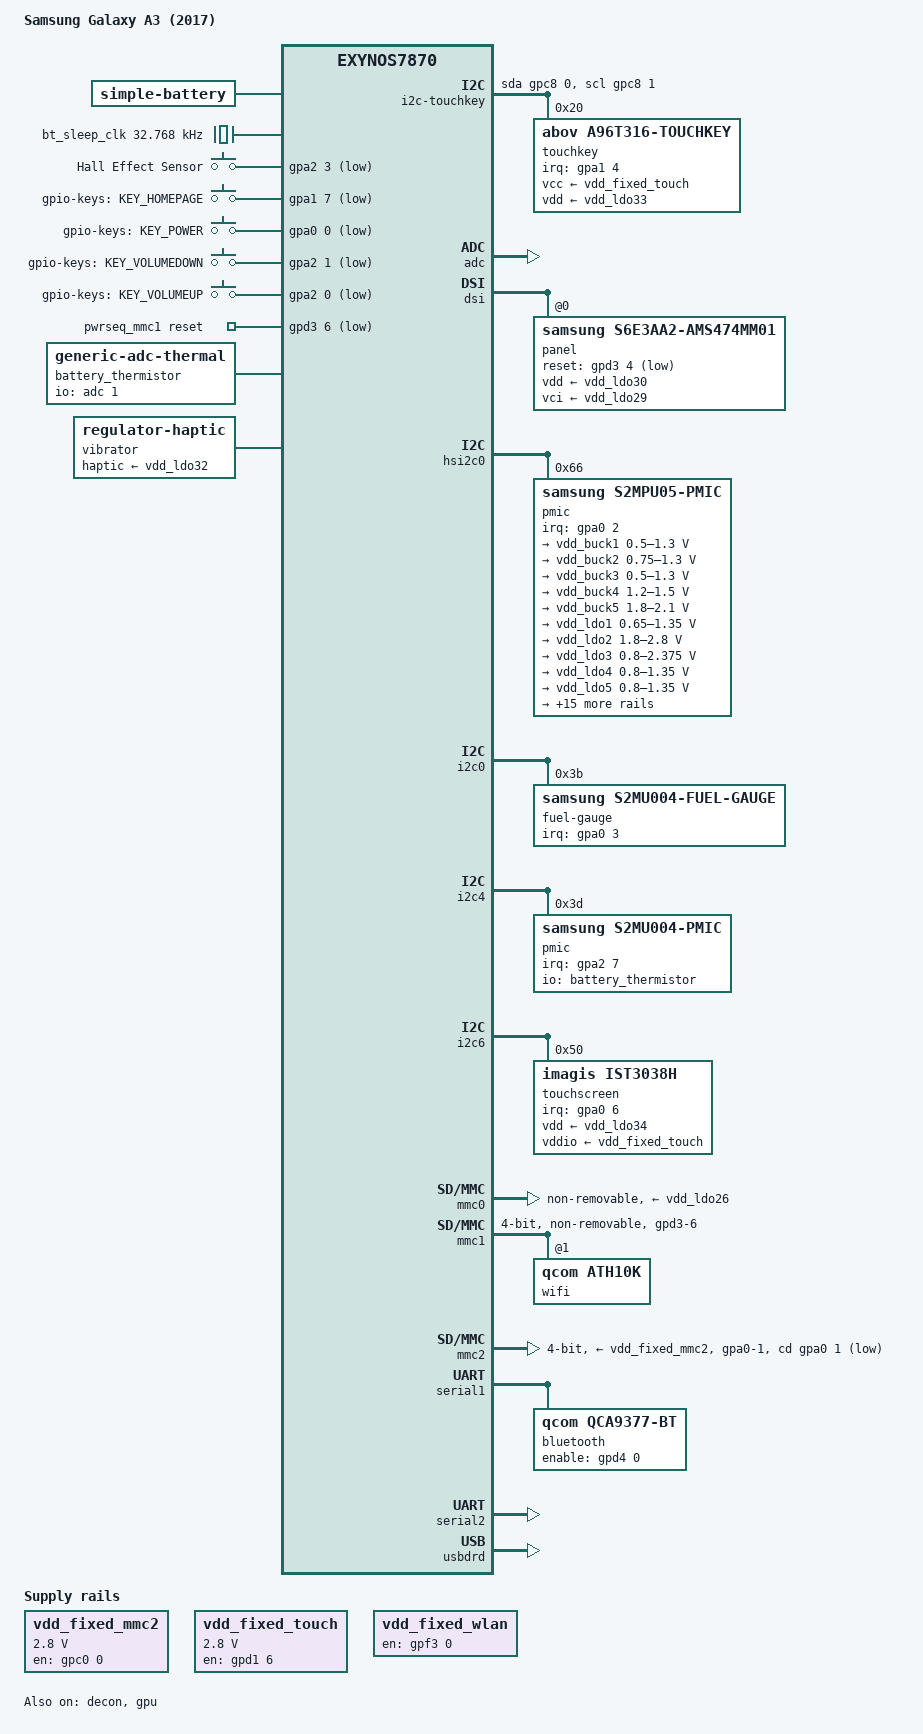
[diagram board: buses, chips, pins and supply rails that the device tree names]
// SPDX-License-Identifier: GPL-2.0
/*
 * Samsung Galaxy A3 (2017) (a3y17lte) device tree source
 *
 * Based on exynos7870-j5y17lte.dts. Board data cross-checked against the
 * vendor a3y17lte rev02/rev03 device trees.
 */

/dts-v1/;
#include "exynos7870.dtsi"
#include <dt-bindings/gpio/gpio.h>
#include <dt-bindings/input/input.h>
#include <dt-bindings/interrupt-controller/irq.h>

/ {
	model = "Samsung Galaxy A3 (2017)";
	compatible = "samsung,a3y17lte", "samsung,exynos7870";
	chassis-type = "handset";

	aliases {
		mmc0 = &mmc0;
		mmc1 = &mmc1;
		mmc2 = &mmc2;
		serial0 = &serial0;
		serial1 = &serial1;
		serial2 = &serial2;
	};

	battery: battery {
		compatible = "simple-battery";
		device-chemistry = "lithium-ion";
		charge-full-design-microamp-hours = <2350000>;
		voltage-max-design-microvolt = <4350000>;
		constant-charge-voltage-max-microvolt = <4350000>;
		constant-charge-current-max-microamp = <2100000>;
		charge-term-current-microamp = <245000>;
		operating-range-celsius = <0 50>;
	};

	chosen {
		ranges;
		#address-cells = <2>;
		#size-cells = <1>;

		stdout-path = &serial2;

		/* Left running by S-Boot (s3cfb.bootloaderfb=0x67000000) */
		framebuffer@67000000 {
			compatible = "simple-framebuffer";
			reg = <0x0 0x67000000 (720 * 1280 * 4)>;
			width = <720>;
			height = <1280>;
			stride = <(720 * 4)>;
			format = "a8r8g8b8";
		};
	};

	/* 32.768 kHz sleep clock for the QCA9377, from the S2MPU05 (always running) */
	bt_sleep_clk: clock-32k {
		compatible = "fixed-clock";
		#clock-cells = <0>;
		clock-frequency = <32768>;
		clock-output-names = "bt_sleep_clk";
	};

	gpio-hall-effect-sensor {
		compatible = "gpio-keys";
		label = "GPIO Hall Effect Sensor";

		pinctrl-0 = <&hall_irq>;
		pinctrl-names = "default";

		event-hall-effect-sensor {
			label = "Hall Effect Sensor";
			gpios = <&gpa2 3 GPIO_ACTIVE_LOW>;
			wakeup-source;
			linux,input-type = <EV_SW>;
			linux,code = <SW_LID>;
			linux,can-disable;
		};
	};

	gpio-keys {
		compatible = "gpio-keys";
		pinctrl-0 = <&key_power &key_voldown &key_volup>;
		pinctrl-names = "default";

		key-home {
			interrupt-parent = <&gpa1>;
			label = "gpio-keys: KEY_HOMEPAGE";
			gpios = <&gpa1 7 GPIO_ACTIVE_LOW>;
			linux,code = <KEY_HOMEPAGE>;
			wakeup-source;
		};

		key-power {
			interrupt-parent = <&gpa0>;
			label = "gpio-keys: KEY_POWER";
			gpios = <&gpa0 0 GPIO_ACTIVE_LOW>;
			linux,code = <KEY_POWER>;
			wakeup-source;
		};

		key-voldown {
			interrupt-parent = <&gpa2>;
			label = "gpio-keys: KEY_VOLUMEDOWN";
			gpios = <&gpa2 1 GPIO_ACTIVE_LOW>;
			linux,code = <KEY_VOLUMEDOWN>;
		};

		key-volup {
			interrupt-parent = <&gpa2>;
			label = "gpio-keys: KEY_VOLUMEUP";
			gpios = <&gpa2 0 GPIO_ACTIVE_LOW>;
			linux,code = <KEY_VOLUMEUP>;
		};
	};

	/* Touch keys: the vendor kernel bit-bangs this bus, hardware i2c2 gets no ACK */
	i2c-touchkey {
		compatible = "i2c-gpio";
		sda-gpios = <&gpc8 0 (GPIO_ACTIVE_HIGH | GPIO_OPEN_DRAIN)>;
		scl-gpios = <&gpc8 1 (GPIO_ACTIVE_HIGH | GPIO_OPEN_DRAIN)>;
		i2c-gpio,delay-us = <2>;
		#address-cells = <1>;
		#size-cells = <0>;

		touchkey@20 {
			compatible = "abov,a96t316-touchkey";
			reg = <0x20>;

			interrupt-parent = <&gpa1>;
			interrupts = <4 IRQ_TYPE_EDGE_FALLING>;

			pinctrl-0 = <&touchkey_irq>;
			pinctrl-names = "default";

			vcc-supply = <&vdd_fixed_touch>;
			vdd-supply = <&vdd_ldo33>;

			linux,keycodes = <KEY_APPSELECT KEY_BACK>;
		};
	};

	memory@40000000 {
		device_type = "memory";
		reg = <0x0 0x40000000 0x3e400000>,
		      <0x0 0x80000000 0x40000000>;
	};

	pwrseq_mmc1: pwrseq-mmc1 {
		compatible = "mmc-pwrseq-simple";
		reset-gpios = <&gpd3 6 GPIO_ACTIVE_LOW>;
	};

	vdd_fixed_mmc2: regulator-fixed-mmc2 {
		compatible = "regulator-fixed";
		regulator-name = "vdd_fixed_mmc2";
		regulator-max-microvolt = <2800000>;
		regulator-min-microvolt = <2800000>;

		gpio = <&gpc0 0 GPIO_ACTIVE_HIGH>;
		enable-active-high;
	};

	/* Touchscreen I/O 2.8 V, enabled by the bootloader */
	vdd_fixed_touch: regulator-fixed-touch {
		compatible = "regulator-fixed";
		regulator-name = "vdd_fixed_touch";
		regulator-max-microvolt = <2800000>;
		regulator-min-microvolt = <2800000>;

		gpio = <&gpd1 6 GPIO_ACTIVE_HIGH>;
		enable-active-high;
		regulator-boot-on;
	};

	/*
	 * QCA9377 Wi-Fi/BT power switch. Shared by both functions and the
	 * Bluetooth driver has no supply for it, so it is kept on.
	 */
	vdd_fixed_wlan: regulator-fixed-wlan {
		compatible = "regulator-fixed";
		regulator-name = "vdd_fixed_wlan";

		gpio = <&gpf3 0 GPIO_ACTIVE_HIGH>;
		enable-active-high;
		startup-delay-us = <4000>;
		regulator-always-on;
	};

	reserved-memory {
		ranges;
		#address-cells = <2>;
		#size-cells = <1>;

		ramoops@46e00000 {
			compatible = "ramoops";
			reg = <0x0 0x46e00000 0x8000>;
			console-size = <0x4000>;
			pmsg-size = <0x4000>;
		};

		cont_splash_mem: framebuffer@67000000 {
			reg = <0x0 0x67000000 (720 * 1280 * 4)>;
			iommu-addresses = <&decon 0x67000000 (720 * 1280 * 4)>;
			no-map;
		};
	};

	battery_thermistor: thermal-sensor-battery {
		compatible = "generic-adc-thermal";
		#io-channel-cells = <0>;
		#thermal-sensor-cells = <0>;
		io-channels = <&adc 1>;
		io-channel-names = "sensor-channel";
		/*
		 * Vendor table converted from ADC codes to millivolts with the
		 * ADC scale (1.8 V / 4095); the voltage falls as temperature rises.
		 */
		temperature-lookup-table = <(-20000) 1589
					    (-15000) 1547
					    (-10000) 1486
					    (-5000) 1441
					    0 1368
					    5000 1287
					    10000 1193
					    15000 1099
					    20000 993
					    25000 892
					    27000 878
					    29000 838
					    32000 781
					    35000 723
					    40000 606
					    45000 527
					    50000 455
					    55000 388
					    60000 323
					    65000 284
					    70000 241
					    75000 212
					    80000 177
					    85000 153
					    90000 127>;
	};

	thermal-zones {
		battery-thermal {
			polling-delay-passive = <0>;
			polling-delay = <5000>;
			thermal-sensors = <&battery_thermistor>;
		};
	};

	vibrator {
		compatible = "regulator-haptic";
		haptic-supply = <&vdd_ldo32>;
		min-microvolt = <3325000>;
		max-microvolt = <3325000>;
	};
};

&adc {
	vdd-supply = <&vdd_ldo3>;
	status = "okay";
};

&cpu0 {
	cpu-supply = <&vdd_buck1>;
};

&cpu1 {
	cpu-supply = <&vdd_buck1>;
};

&cpu2 {
	cpu-supply = <&vdd_buck1>;
};

&cpu3 {
	cpu-supply = <&vdd_buck1>;
};

&cpu4 {
	cpu-supply = <&vdd_buck1>;
};

&cpu5 {
	cpu-supply = <&vdd_buck1>;
};

&cpu6 {
	cpu-supply = <&vdd_buck1>;
};

&cpu7 {
	cpu-supply = <&vdd_buck1>;
};

&decon {
	memory-region = <&cont_splash_mem>;

	/* Tearing effect input from the command mode panel */
	pinctrl-0 = <&decon_te_on>;
	pinctrl-names = "default";

	status = "okay";
};

&dsi {
	#address-cells = <1>;
	#size-cells = <0>;

	samsung,burst-clock-frequency = <490000000>;
	samsung,esc-clock-frequency = <16000000>;
	samsung,pll-clock-frequency = <26000000>;

	status = "okay";

	panel@0 {
		compatible = "samsung,s6e3aa2-ams474mm01";
		reg = <0>;

		vdd-supply = <&vdd_ldo30>;
		vci-supply = <&vdd_ldo29>;

		reset-gpios = <&gpd3 4 GPIO_ACTIVE_LOW>;
	};
};

&gpu {
	mali-supply = <&vdd_buck2>;

	status = "okay";
};

&hsi2c0 {
	status = "okay";

	pmic@66 {
		compatible = "samsung,s2mpu05-pmic";
		reg = <0x66>;

		interrupt-parent = <&gpa0>;
		interrupts = <2 IRQ_TYPE_LEVEL_LOW>;

		pinctrl-0 = <&pmic_irq>;
		pinctrl-names = "default";

		regulators {
			vdd_buck1: buck1 {
				regulator-name = "vdd_buck1";
				regulator-min-microvolt = <500000>;
				regulator-max-microvolt = <1300000>;
				regulator-ramp-delay = <12000>;
				regulator-boot-on;
				regulator-always-on;
			};

			vdd_buck2: buck2 {
				regulator-name = "vdd_buck2";
				/*
				 * Also supplies MIF, INT, DISP and CAM, which
				 * have no consumer: keep the bootloader's level.
				 */
				regulator-min-microvolt = <750000>;
				regulator-max-microvolt = <1300000>;
				regulator-ramp-delay = <12000>;
				regulator-boot-on;
				regulator-always-on;
			};

			vdd_buck3: buck3 {
				regulator-name = "vdd_buck3";
				regulator-min-microvolt = <500000>;
				regulator-max-microvolt = <1300000>;
				regulator-ramp-delay = <12000>;
				regulator-boot-on;
				regulator-always-on;
			};

			vdd_buck4: buck4 {
				regulator-name = "vdd_buck4";
				regulator-min-microvolt = <1200000>;
				regulator-max-microvolt = <1500000>;
				regulator-ramp-delay = <12000>;
				regulator-boot-on;
				regulator-always-on;
			};

			vdd_buck5: buck5 {
				regulator-name = "vdd_buck5";
				regulator-min-microvolt = <1800000>;
				regulator-max-microvolt = <2100000>;
				regulator-ramp-delay = <12000>;
				regulator-boot-on;
				regulator-always-on;
			};

			vdd_ldo1: ldo1 {
				regulator-name = "vdd_ldo1";
				regulator-min-microvolt = <650000>;
				regulator-max-microvolt = <1350000>;
				regulator-ramp-delay = <12000>;
				regulator-boot-on;
				regulator-always-on;
			};

			vdd_ldo2: ldo2 {
				regulator-name = "vdd_ldo2";
				regulator-min-microvolt = <1800000>;
				regulator-max-microvolt = <2800000>;
				regulator-ramp-delay = <12000>;
			};

			vdd_ldo3: ldo3 {
				regulator-name = "vdd_ldo3";
				regulator-min-microvolt = <800000>;
				regulator-max-microvolt = <2375000>;
				regulator-ramp-delay = <12000>;
				regulator-boot-on;
				regulator-always-on;
			};

			vdd_ldo4: ldo4 {
				regulator-name = "vdd_ldo4";
				regulator-min-microvolt = <800000>;
				regulator-max-microvolt = <1350000>;
				regulator-ramp-delay = <12000>;
				regulator-boot-on;
				regulator-always-on;
			};

			vdd_ldo5: ldo5 {
				regulator-name = "vdd_ldo5";
				regulator-min-microvolt = <800000>;
				regulator-max-microvolt = <1350000>;
				regulator-ramp-delay = <12000>;
				regulator-boot-on;
				regulator-always-on;
			};

			vdd_ldo6: ldo6 {
				regulator-name = "vdd_ldo6";
				regulator-min-microvolt = <800000>;
				regulator-max-microvolt = <1350000>;
				regulator-ramp-delay = <12000>;
				regulator-boot-on;
				regulator-always-on;
			};

			vdd_ldo7: ldo7 {
				regulator-name = "vdd_ldo7";
				regulator-min-microvolt = <800000>;
				regulator-max-microvolt = <2375000>;
				regulator-ramp-delay = <12000>;
				regulator-boot-on;
				regulator-always-on;
			};

			vdd_ldo8: ldo8 {
				regulator-name = "vdd_ldo8";
				regulator-min-microvolt = <1800000>;
				regulator-max-microvolt = <3375000>;
				regulator-ramp-delay = <12000>;
			};

			vdd_ldo9: ldo9 {
				regulator-name = "vdd_ldo9";
				regulator-min-microvolt = <650000>;
				regulator-max-microvolt = <1350000>;
				regulator-ramp-delay = <12000>;
				regulator-boot-on;
				regulator-always-on;
			};

			vdd_ldo10: ldo10 {
				regulator-name = "vdd_ldo10";
				regulator-min-microvolt = <650000>;
				regulator-max-microvolt = <1350000>;
				regulator-ramp-delay = <12000>;
				regulator-boot-on;
				regulator-always-on;
			};

			vdd_ldo25: ldo25 {
				regulator-name = "vdd_ldo25";
				regulator-min-microvolt = <800000>;
				regulator-max-microvolt = <2375000>;
				regulator-ramp-delay = <12000>;
				regulator-boot-on;
				regulator-always-on;
			};

			/* eMMC core */
			vdd_ldo26: ldo26 {
				regulator-name = "vdd_ldo26";
				regulator-min-microvolt = <1800000>;
				regulator-max-microvolt = <3375000>;
				regulator-ramp-delay = <12000>;
				regulator-boot-on;
				regulator-always-on;
			};

			/* eMMC I/O */
			vdd_ldo27: ldo27 {
				regulator-name = "vdd_ldo27";
				regulator-min-microvolt = <800000>;
				regulator-max-microvolt = <2375000>;
				regulator-ramp-delay = <12000>;
				regulator-boot-on;
				regulator-always-on;
			};

			/* Panel analog supply (LCD_3P0) */
			vdd_ldo29: ldo29 {
				regulator-name = "vdd_ldo29";
				regulator-min-microvolt = <3000000>;
				regulator-max-microvolt = <3000000>;
				regulator-boot-on;
			};

			/* Panel I/O supply (LCD_1P8) */
			vdd_ldo30: ldo30 {
				regulator-name = "vdd_ldo30";
				regulator-min-microvolt = <1800000>;
				regulator-max-microvolt = <1800000>;
				regulator-boot-on;
			};

			/* 2.95 V on A3 (2.8 V on J5) */
			vdd_ldo31: ldo31 {
				regulator-name = "vdd_ldo31";
				regulator-min-microvolt = <2950000>;
				regulator-max-microvolt = <2950000>;
				regulator-ramp-delay = <12000>;
				regulator-boot-on;
				regulator-always-on;
			};

			/* Vibrator motor */
			vdd_ldo32: ldo32 {
				regulator-name = "vdd_ldo32";
				regulator-min-microvolt = <3325000>;
				regulator-max-microvolt = <3325000>;
				regulator-ramp-delay = <12000>;
			};

			/* Touch key controller AVDD and key LEDs 3.3 V */
			vdd_ldo33: ldo33 {
				regulator-name = "vdd_ldo33";
				regulator-min-microvolt = <3300000>;
				regulator-max-microvolt = <3300000>;
				regulator-ramp-delay = <12000>;
			};

			/* Touchscreen AVDD */
			vdd_ldo34: ldo34 {
				regulator-name = "vdd_ldo34";
				regulator-min-microvolt = <3300000>;
				regulator-max-microvolt = <3300000>;
			};

			/*
			 * Camera sensor analog 2.95 V. Unlike J5 (3.3 V,
			 * always-on) this must not exceed 2.95 V.
			 */
			vdd_ldo35: ldo35 {
				regulator-name = "vdd_ldo35";
				regulator-min-microvolt = <2950000>;
				regulator-max-microvolt = <2950000>;
			};
		};
	};
};

&i2c0 {
	samsung,i2c-sda-delay = <100>;
	samsung,i2c-max-bus-freq = <400000>;

	status = "okay";

	fuel-gauge@3b {
		compatible = "samsung,s2mu004-fuel-gauge", "samsung,s2mu005-fuel-gauge";
		reg = <0x3b>;
		interrupt-parent = <&gpa0>;
		interrupts = <3 IRQ_TYPE_EDGE_FALLING>;

		pinctrl-0 = <&fuel_irq>;
		pinctrl-names = "default";
	};
};

&i2c4 {
	samsung,i2c-sda-delay = <100>;
	samsung,i2c-max-bus-freq = <400000>;

	status = "okay";

	pmic@3d {
		compatible = "samsung,s2mu004-pmic";
		reg = <0x3d>;
		interrupt-parent = <&gpa2>;
		interrupts = <7 IRQ_TYPE_LEVEL_LOW>;

		io-channels = <&battery_thermistor>;
		io-channel-names = "batt-temp";
		monitored-battery = <&battery>;

		pinctrl-0 = <&if_pmic_irq>;
		pinctrl-names = "default";

		wakeup-source;

		muic {
			compatible = "samsung,s2mu004-muic";
		};
	};
};

&i2c6 {
	samsung,i2c-sda-delay = <100>;
	samsung,i2c-max-bus-freq = <400000>;

	status = "okay";

	touchscreen@50 {
		compatible = "imagis,ist3038h";
		reg = <0x50>;

		interrupt-parent = <&gpa0>;
		interrupts = <6 IRQ_TYPE_EDGE_FALLING>;

		pinctrl-0 = <&touch_irq>;
		pinctrl-names = "default";

		touchscreen-size-x = <720>;
		touchscreen-size-y = <1280>;

		vdd-supply = <&vdd_ldo34>;
		vddio-supply = <&vdd_fixed_touch>;
	};
};

&mmc0 {
	pinctrl-0 = <&sd0_clk &sd0_cmd &sd0_rdqs &sd0_bus1 &sd0_bus4 &sd0_bus8>;
	pinctrl-names = "default";

	vmmc-supply = <&vdd_ldo26>;
	vqmmc-supply = <&vdd_ldo27>;

	fifo-depth = <64>;
	non-removable;

	samsung,dw-mshc-ciu-div = <3>;
	samsung,dw-mshc-sdr-timing = <0 4>;
	samsung,dw-mshc-ddr-timing = <2 4>;

	status = "okay";
};

/* QCA9377 Wi-Fi (SDIO) */
&mmc1 {
	#address-cells = <1>;
	#size-cells = <0>;

	pinctrl-0 = <&sd1_clk &sd1_cmd &sd1_bus1 &sd1_bus4 &wlan_enable>;
	pinctrl-names = "default";

	mmc-pwrseq = <&pwrseq_mmc1>;

	bus-width = <4>;
	fifo-depth = <64>;
	non-removable;
	cap-sd-highspeed;
	cap-sdio-irq;
	keep-power-in-suspend;

	samsung,dw-mshc-ciu-div = <3>;
	samsung,dw-mshc-sdr-timing = <0 3>;
	samsung,dw-mshc-ddr-timing = <1 2>;

	status = "okay";

	wifi@1 {
		compatible = "qcom,ath10k";
		reg = <1>;
	};
};

/* microSD slot (hybrid SIM2/SD tray) */
&mmc2 {
	pinctrl-0 = <&sd2_clk &sd2_cmd &sd2_bus1 &sd2_bus4 &dwmmc2_irq>;
	pinctrl-names = "default";

	vmmc-supply = <&vdd_fixed_mmc2>;
	vqmmc-supply = <&vdd_ldo2>;

	bus-width = <4>;
	card-detect-delay = <200>;
	cd-gpios = <&gpa0 1 GPIO_ACTIVE_LOW>;
	fifo-depth = <64>;
	cap-sd-highspeed;
	sd-uhs-sdr50;
	sd-uhs-sdr104;
	disable-wp;

	samsung,dw-mshc-ciu-div = <3>;
	samsung,dw-mshc-sdr-timing = <0 3>;
	samsung,dw-mshc-ddr-timing = <1 2>;

	status = "okay";
};

&oscclk {
	clock-frequency = <26000000>;
};

&pinctrl_alive {
	dwmmc2_irq: dwmmc2-irq-pins {
		samsung,pins = "gpa0-1";
		samsung,pin-function = <EXYNOS_PIN_FUNC_EINT>;
		samsung,pin-pud = <EXYNOS_PIN_PULL_NONE>;
		samsung,pin-drv = <EXYNOS5433_PIN_DRV_FAST_SR1>;
	};

	key_power: key-power-pins {
		samsung,pins = "gpa0-0";
		samsung,pin-function = <EXYNOS_PIN_FUNC_EINT>;
		samsung,pin-pud = <EXYNOS_PIN_PULL_NONE>;
		samsung,pin-drv = <EXYNOS5433_PIN_DRV_FAST_SR1>;
	};

	key_voldown: key-voldown-pins {
		samsung,pins = "gpa2-1";
		samsung,pin-function = <EXYNOS_PIN_FUNC_EINT>;
		samsung,pin-pud = <EXYNOS_PIN_PULL_NONE>;
		samsung,pin-drv = <EXYNOS5433_PIN_DRV_FAST_SR1>;
	};

	key_volup: key-volup-pins {
		samsung,pins = "gpa2-0";
		samsung,pin-function = <EXYNOS_PIN_FUNC_EINT>;
		samsung,pin-pud = <EXYNOS_PIN_PULL_NONE>;
		samsung,pin-drv = <EXYNOS5433_PIN_DRV_FAST_SR1>;
	};

	fuel_irq: fuel-irq-pins {
		samsung,pins = "gpa0-3";
		samsung,pin-function = <EXYNOS_PIN_FUNC_EINT>;
		samsung,pin-pud = <EXYNOS_PIN_PULL_NONE>;
		samsung,pin-drv = <EXYNOS5433_PIN_DRV_FAST_SR1>;
	};

	hall_irq: hall-irq-pins {
		samsung,pins = "gpa2-3";
		samsung,pin-function = <EXYNOS_PIN_FUNC_EINT>;
		samsung,pin-pud = <EXYNOS_PIN_PULL_NONE>;
		samsung,pin-drv = <EXYNOS5433_PIN_DRV_FAST_SR1>;
	};

	if_pmic_irq: if-pmic-irq-pins {
		samsung,pins = "gpa2-7";
		samsung,pin-function = <EXYNOS_PIN_FUNC_EINT>;
		samsung,pin-pud = <EXYNOS_PIN_PULL_NONE>;
		samsung,pin-drv = <EXYNOS5433_PIN_DRV_FAST_SR1>;
	};

	pmic_irq: pmic-irq-pins {
		samsung,pins = "gpa0-2";
		samsung,pin-pud = <EXYNOS_PIN_PULL_UP>;
		samsung,pin-drv = <EXYNOS5433_PIN_DRV_FAST_SR4>;
	};

	touchkey_irq: touchkey-irq-pins {
		samsung,pins = "gpa1-4";
		samsung,pin-function = <EXYNOS_PIN_FUNC_EINT>;
		samsung,pin-pud = <EXYNOS_PIN_PULL_UP>;
		samsung,pin-drv = <EXYNOS5433_PIN_DRV_FAST_SR1>;
	};

	touch_irq: touch-irq-pins {
		samsung,pins = "gpa0-6";
		samsung,pin-function = <EXYNOS_PIN_FUNC_EINT>;
		samsung,pin-pud = <EXYNOS_PIN_PULL_NONE>;
		samsung,pin-drv = <EXYNOS5433_PIN_DRV_FAST_SR1>;
	};
};

&pinctrl_top {
	bt_enable: bt-enable-pins {
		samsung,pins = "gpd4-0";
		samsung,pin-function = <EXYNOS_PIN_FUNC_OUTPUT>;
		samsung,pin-pud = <EXYNOS_PIN_PULL_DOWN>;
		samsung,pin-con-pdn = <EXYNOS_PIN_PDN_PREV>;
		samsung,pin-pud-pdn = <EXYNOS_PIN_PULL_NONE>;
	};

	wlan_enable: wlan-enable-pins {
		samsung,pins = "gpd3-6";
		samsung,pin-function = <EXYNOS_PIN_FUNC_OUTPUT>;
		samsung,pin-pud = <EXYNOS_PIN_PULL_NONE>;
		samsung,pin-drv = <EXYNOS5433_PIN_DRV_FAST_SR4>;
		samsung,pin-con-pdn = <EXYNOS_PIN_PDN_PREV>;
		samsung,pin-pud-pdn = <EXYNOS_PIN_PULL_NONE>;
		samsung,pin-val = <0>;
	};
};

/*
 * Reserved for the secure world (eSE SPI on gpc7, secure touch I2C on gpc3):
 * any non-secure register access takes a synchronous external abort.
 */
&pinctrl_ese {
	status = "disabled";
};

&pinctrl_touch {
	status = "disabled";
};

/* QCA9377 Bluetooth */
&serial1 {
	status = "okay";

	bluetooth {
		compatible = "qcom,qca9377-bt";
		pinctrl-0 = <&bt_enable>;
		pinctrl-names = "default";

		clocks = <&bt_sleep_clk>;
		enable-gpios = <&gpd4 0 GPIO_ACTIVE_HIGH>;
		max-speed = <3000000>;
	};
};

&serial2 {
	status = "okay";
};

&usbdrd {
	vdd33-supply = <&vdd_ldo8>;

	status = "okay";

	/* No USB-C (S2MU004) driver yet: stay in gadget mode for USB networking */
	usb@0 {
		role-switch-default-mode = "peripheral";
	};
};
